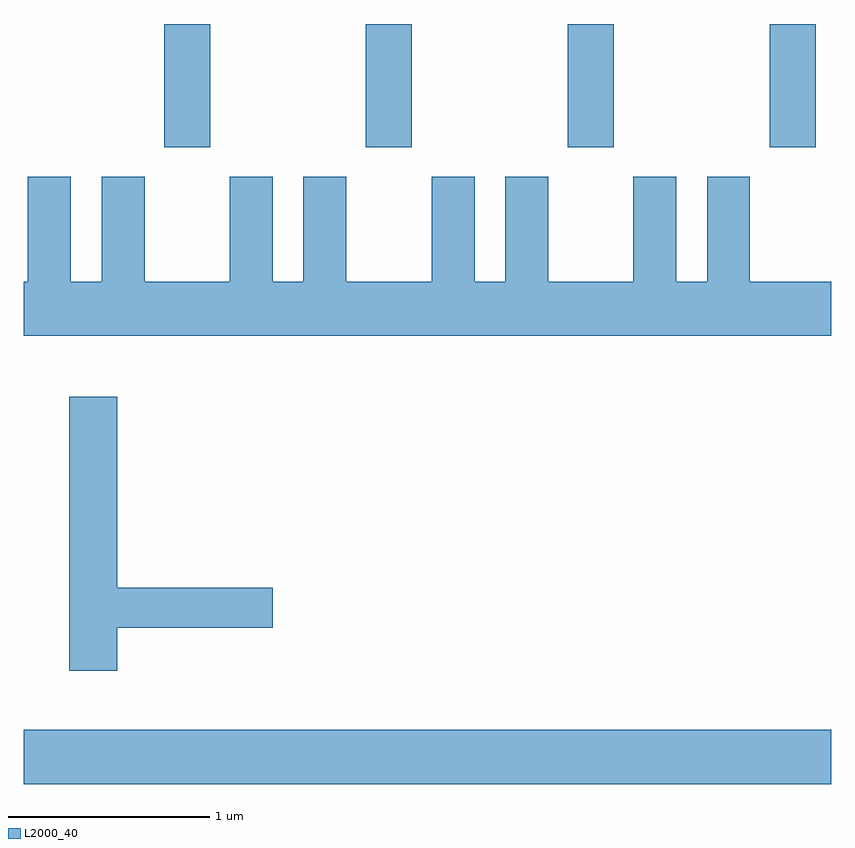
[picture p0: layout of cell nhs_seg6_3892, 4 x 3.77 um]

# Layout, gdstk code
import gdstk
lib = gdstk.Library(unit=1e-6, precision=1e-09)
def R(c, l, rs):  # rectangles x0, y0, x1, y1
    for r in rs: c.add(gdstk.rectangle(r[:2], r[2:], *l))
def A(c, l, x, y, w, h, nx, ny, dx, dy):  # array of equal rectangles
    R(c, l, [(x+i*dx, y+j*dy, x+i*dx+w, y+j*dy+h) for i in range(nx) for j in range(ny)])
def P(c, l, *ps):  # polygons
    for p in ps: c.add(gdstk.Polygon(p, *l))
L2000_40 = (2000, 40)

nhs_seg6_3892 = lib.new_cell('nhs_seg6_3892')
A(nhs_seg6_3892, L2000_40, 302.306, 1637.551, 0.228, 0.611, 4, 1, 1, 0)
R(nhs_seg6_3892, L2000_40, [(301.611,1634.396,305.611,1634.664)])
P(nhs_seg6_3892, L2000_40, [(305.611,1636.884),(305.209,1636.884),(305.209,1637.404),(304.996,1637.404),(304.996,1636.884),(304.844,1636.884),(304.844,1637.404),(304.631,1637.404),(304.631,1636.884),(304.209,1636.884),(304.209,1637.404),(303.996,1637.404),(303.996,1636.884),(303.844,1636.884),(303.844,1637.404),(303.631,1637.404),(303.631,1636.884),(303.209,1636.884),(303.209,1637.404),(302.996,1637.404),(302.996,1636.884),(302.844,1636.884),(302.844,1637.404),(302.631,1637.404),(302.631,1636.884),(302.209,1636.884),(302.209,1637.404),(301.996,1637.404),(301.996,1636.884),(301.844,1636.884),(301.844,1637.404),(301.631,1637.404),(301.631,1636.884),(301.611,1636.884),(301.611,1636.616),(305.611,1636.616)],
  [(302.074,1635.171),(302.844,1635.171),(302.844,1635.369),(302.074,1635.369),(302.074,1636.314),(301.836,1636.314),(301.836,1634.956),(302.074,1634.956)])

lib.write_gds('nhs_seg6_3892.gds')
